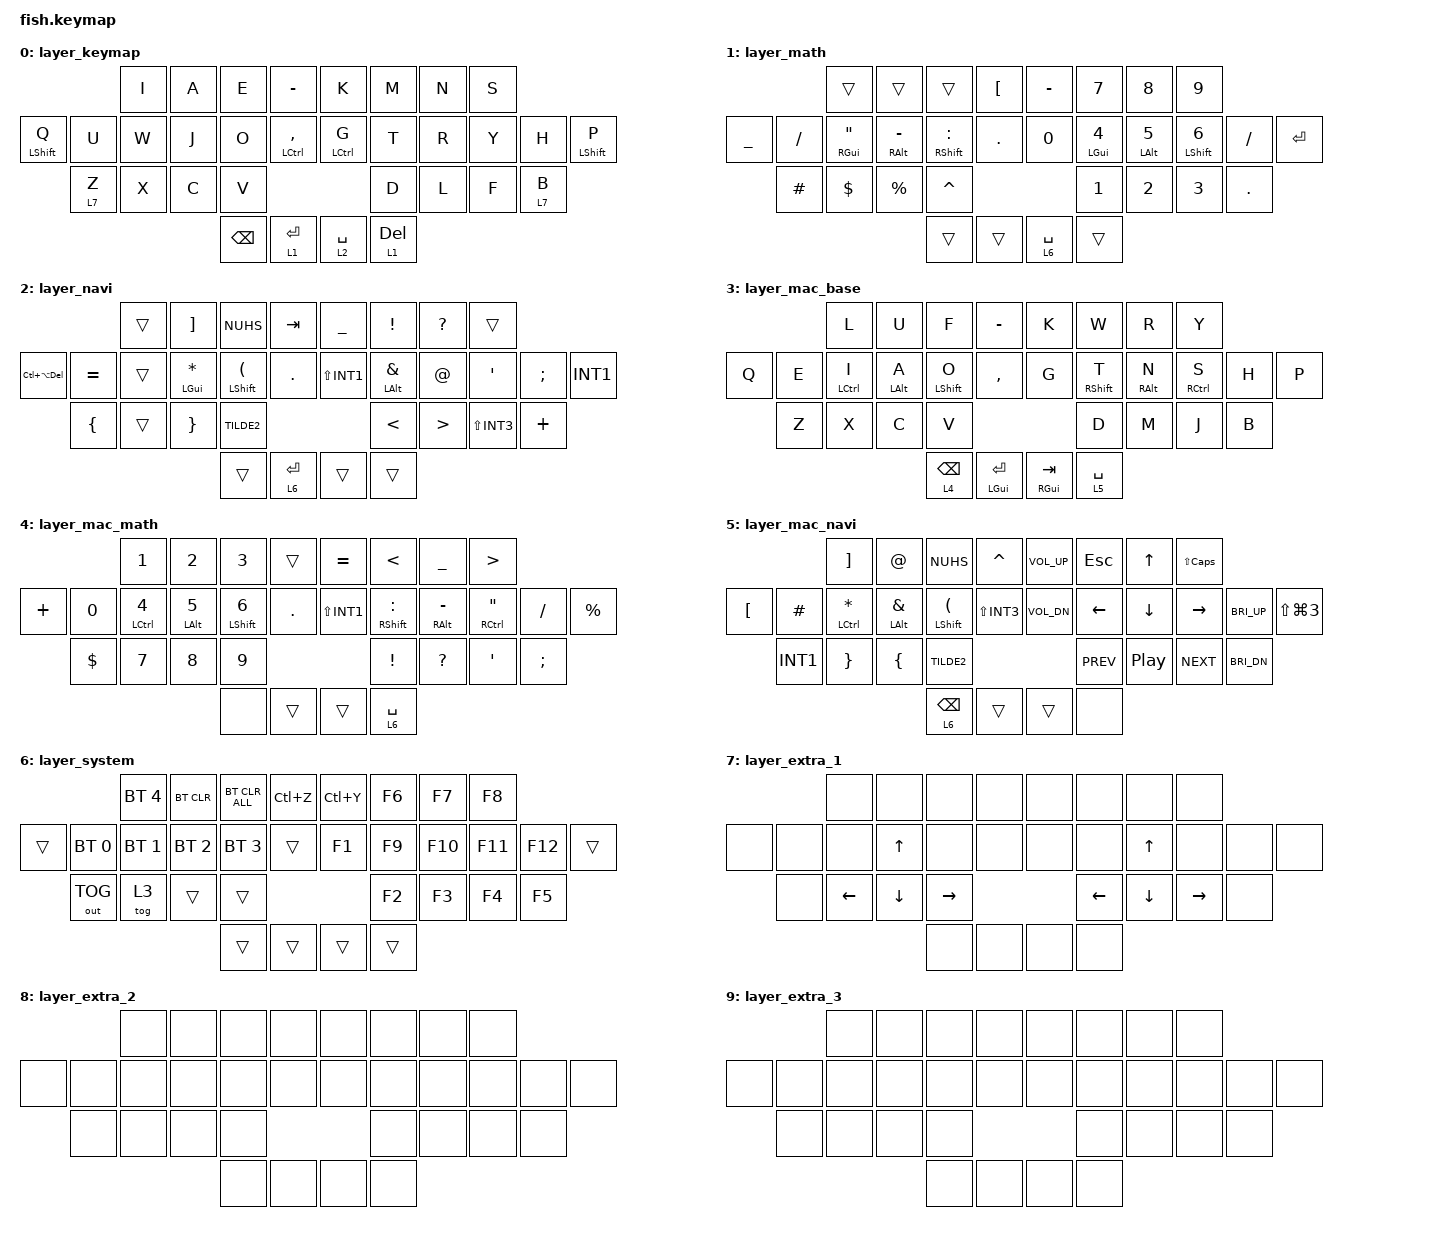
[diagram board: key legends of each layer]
// キーマップを更新する方法は https://o24.works/fish/guide を参照
// 視覚的に編集するには https://o24.works/fish/editor を参照


// 定義を呼んでくる
#include <behaviors.dtsi>
#include <dt-bindings/zmk/keys.h>
#include <dt-bindings/zmk/mouse.h>
#include <dt-bindings/zmk/bt.h>
#include <dt-bindings/zmk/outputs.h>
#include <dt-bindings/zmk/pointing.h>


// 特殊入力の挙動を調整できる

&mt {
    flavor = "tap-preferred";
    tapping-term-ms = <225>;
    quick-tap-ms = <200>;
    require-prior-idle-ms = <150>;
};

&lt {
    flavor = "balanced";
    tapping-term-ms = <175>;
    quick-tap-ms = <200>;
};

&sk {
};

&sl {
};

&caps_word {
};

&key_repeat {
};


/ {
    // 独自の入力を定義できる（上級者向け）

    behaviors {
    };

    macros {
    };

    conditional_layers {
    };


    // 複数キーの同時押しに特別の入力を設定できる
    // キー番号早見表：
    //       0  1  2  3     4  5  6  7
    // 8  9 10 11 12 13    14 15 16 17 18 19
    //   20 21 22 23          24 25 26 27
    //            28 29    30 31

    combos {
        compatible = "zmk,combos";
        timeout-ms = <100>;
        require-prior-idle-ms = <150>;

        combo_lang2 {
            key-positions = <11 12>;
            bindings = <&kp LANG2>;
        };

        combo_lang1 {
            key-positions = <15 16>;
            bindings = <&kp LANG1>;
        };

        combo_reset_L {
            key-positions = <3 8 13>;
            bindings = <&bootloader>;
        };

        combo_reset_R {
            key-positions = <4 14 19>;
            bindings = <&bootloader>;
        };

        combo_studio_unlock {
            key-positions = <20 21 22 23>;
            bindings = <&studio_unlock>;
        };
    };
    

    // キーに入力を割り当てる
    // 型（&...）は https://zmk.dev/docs/behaviors/... を参照
    // キーコードは https://zmk.dev/docs/codes/... を参照

    keymap {
        compatible = "zmk,keymap";

        layer_keymap {
            bindings = <
                        &kp I       &kp A       &kp E       &kp MINUS           &kp K       &kp M       &kp N       &kp S       
&mt LSHFT Q &kp U       &kp W       &kp J       &kp O       &mt LCTRL COMMA     &mt LCTRL G &kp T       &kp R       &kp Y       &kp H       &mt LSHFT P 
            &lt 7 Z     &kp X       &kp C       &kp V                                       &kp D       &kp L       &kp F       &lt 7 B     
                                                &kp BSPC    &lt 1 RET           &lt 2 SPACE &lt 1 DEL   
            >;
        };

        layer_math {
            bindings = <
                        &trans      &trans      &trans      &kp LBKT            &kp MINUS   &kp N7      &kp N8      &kp N9      
&kp UNDER   &kp FSLH    &mt RGUI DQT &mt RALT MINUS &mt RSHFT COLON &kp DOT     &kp N0      &mt LGUI N4 &mt LALT N5 &mt LSHFT N6 &kp FSLH   &kp RET     
            &kp HASH    &kp DLLR    &kp PRCNT   &kp CARET                                   &kp N1      &kp N2      &kp N3      &kp DOT     
                                                &trans      &trans              &lt 6 SPACE &trans      
            >;
        };

        layer_navi {
            bindings = <
                        &trans      &kp RBKT    &kp NUHS    &kp TAB             &kp UNDER   &kp EXCL    &kp QMARK   &trans      
&kp LC(LA(DEL)) &kp EQUAL &trans    &mt LGUI STAR &mt LSHFT LPAR &kp DOT        &kp LS(INT1) &mt LALT AMPS &kp AT   &kp SQT     &kp SEMI    &kp INT1    
            &kp LBRC    &trans      &kp RBRC    &kp TILDE2                                  &kp LT      &kp GT      &kp LS(INT3) &kp PLUS   
                                                &trans      &lt 6 RET           &trans      &trans      
            >;
        };

        layer_mac_base {
            bindings = <
                        &kp L       &kp U       &kp F       &kp MINUS           &kp K       &kp W       &kp R       &kp Y       
&kp Q       &kp E       &mt LCTRL I &mt LALT A  &mt LSHFT O &kp COMMA           &kp G       &mt RSHFT T &mt RALT N  &mt RCTRL S &kp H       &kp P       
            &kp Z       &kp X       &kp C       &kp V                                       &kp D       &kp M       &kp J       &kp B       
                                                &lt 4 BSPC  &mt LGUI RET        &mt RGUI TAB &lt 5 SPACE 
            >;
        };

        layer_mac_math {
            bindings = <
                        &kp N1      &kp N2      &kp N3      &trans              &kp EQUAL   &kp LT      &kp UNDER   &kp GT      
&kp PLUS    &kp N0      &mt LCTRL N4 &mt LALT N5 &mt LSHFT N6 &kp DOT           &kp LS(INT1) &mt RSHFT COLON &mt RALT MINUS &mt RCTRL DQT &kp FSLH &kp PRCNT 
            &kp DLLR    &kp N7      &kp N8      &kp N9                                      &kp EXCL    &kp QMARK   &kp SQT     &kp SEMI    
                                                &none       &trans              &trans      &lt 6 SPACE 
            >;
        };

        layer_mac_navi {
            bindings = <
                        &kp RBKT    &kp AT      &kp NUHS    &kp CARET           &kp C_VOL_UP &kp ESC    &kp UP      &kp LS(CAPS) 
&kp LBKT    &kp HASH    &mt LCTRL STAR &mt LALT AMPS &mt LSHFT LPAR &kp LS(INT3) &kp C_VOL_DN &kp LEFT  &kp DOWN    &kp RIGHT   &kp C_BRI_UP &kp LS(LG(N3)) 
            &kp INT1    &kp RBRC    &kp LBRC    &kp TILDE2                                  &kp C_PREV  &kp C_PP    &kp C_NEXT  &kp C_BRI_DN 
                                                &lt 6 BSPC  &trans              &trans      &none       
            >;
        };

        layer_system {
            bindings = <
                        &bt BT_SEL 4 &bt BT_CLR &bt BT_CLR_ALL &kp LC(Z)        &kp LC(Y)   &kp F6      &kp F7      &kp F8      
&trans      &bt BT_SEL 0 &bt BT_SEL 1 &bt BT_SEL 2 &bt BT_SEL 3 &trans          &kp F1      &kp F9      &kp F10     &kp F11     &kp F12     &trans      
            &out OUT_TOG &tog 3     &trans      &trans                                      &kp F2      &kp F3      &kp F4      &kp F5      
                                                &trans      &trans              &trans      &trans      
            >;
        };

        layer_extra_1 {
            bindings = <
                        &none       &none       &none       &none               &none       &none       &none       &none       
&none       &none       &none       &kp UP      &none       &none               &none       &none       &kp UP      &none       &none       &none       
            &none       &kp LEFT    &kp DOWN    &kp RIGHT                                   &kp LEFT    &kp DOWN    &kp RIGHT   &none       
                                                &none       &none               &none       &none       
            >;
        };

        layer_extra_2 {
            bindings = <
                        &none       &none       &none       &none               &none       &none       &none       &none       
&none       &none       &none       &none       &none       &none               &none       &none       &none       &none       &none       &none       
            &none       &none       &none       &none                                       &none       &none       &none       &none       
                                                &none       &none               &none       &none       
            >;
        };

        layer_extra_3 {
            bindings = <
                        &none       &none       &none       &none               &none       &none       &none       &none       
&none       &none       &none       &none       &none       &none               &none       &none       &none       &none       &none       &none       
            &none       &none       &none       &none                                       &none       &none       &none       &none       
                                                &none       &none               &none       &none       
            >;
        };
    };
};
